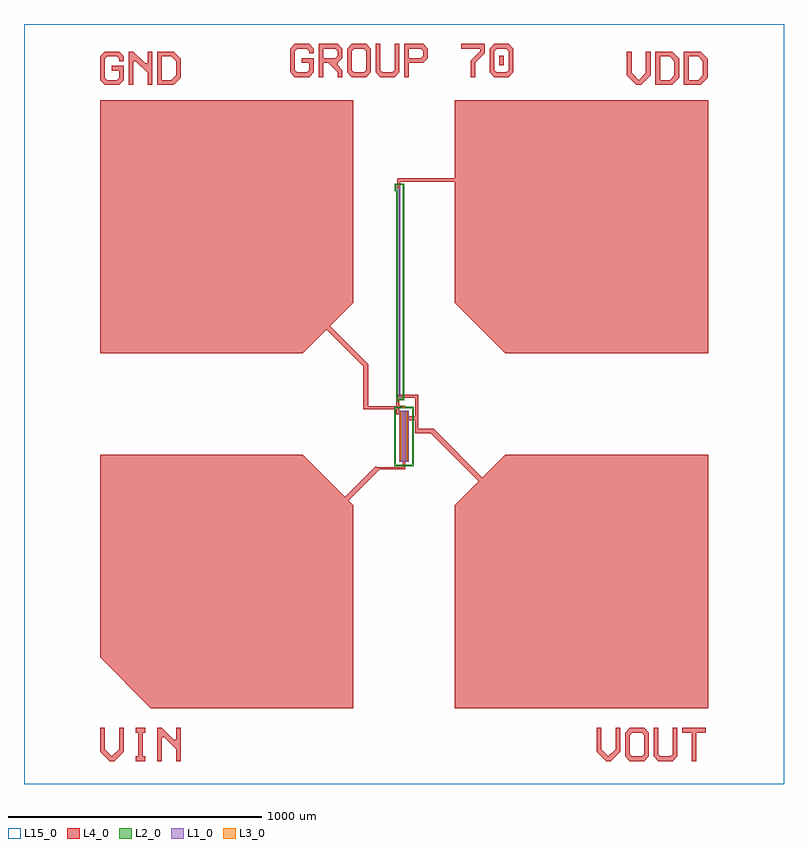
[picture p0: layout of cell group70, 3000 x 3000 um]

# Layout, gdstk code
import gdstk
lib = gdstk.Library(unit=1e-6, precision=1e-09)
def R(c, l, rs):  # rectangles x0, y0, x1, y1
    for r in rs: c.add(gdstk.rectangle(r[:2], r[2:], *l))
def P(c, l, *ps):  # polygons
    for p in ps: c.add(gdstk.Polygon(p, *l))
L1_0 = (1, 0)
L2_0 = (2, 0)
L3_0 = (3, 0)
L4_0 = (4, 0)
L15_0 = (15, 0)

text = lib.new_cell('TEXT')
R(text, L4_0, [(825,46.875,843.75,84.375)])
P(text, L4_0, [(18.75,0),(0,18.75),(0,112.5),(18.75,131.25),(75,131.25),(93.75,112.5),(93.75,93.75),(75,93.75),(75,103.125),(65.625,112.5),(28.125,112.5),(18.75,103.125),(18.75,28.125),(28.125,18.75),(65.625,18.75),(75,28.125),(75,56.25),(46.875,56.25),(46.875,75),(93.75,75),(93.75,18.75),(75,0)],
  [(112.5,0),(112.5,131.25),(187.5,131.25),(206.25,112.5),(131.25,112.5),(131.25,75),(178.125,75),(187.5,84.375),(187.5,103.125),(178.125,112.5),(206.25,112.5),(206.25,75),(187.5,56.25),(187.5,46.875),(206.25,28.125),(206.25,0),(187.5,0),(187.5,18.75),(150,56.25),(131.25,56.25),(131.25,0)],
  [(243.75,0),(225,18.75),(225,112.5),(243.75,131.25),(300,131.25),(318.75,112.5),(318.75,65.625),(300,65.625),(300,103.125),(290.625,112.5),(253.125,112.5),(243.75,103.125),(243.75,28.125),(253.125,18.75),(290.625,18.75),(300,28.125),(300,65.625),(318.75,65.625),(318.75,18.75),(300,0)],
  [(356.25,0),(337.5,18.75),(337.5,131.25),(356.25,131.25),(356.25,28.125),(365.625,18.75),(403.125,18.75),(412.5,28.125),(412.5,131.25),(431.25,131.25),(431.25,18.75),(412.5,0)],
  [(450,0),(450,131.25),(525,131.25),(543.75,112.5),(543.75,75),(525,56.25),(468.75,56.25),(468.75,75),(515.625,75),(525,84.375),(525,103.125),(515.625,112.5),(468.75,112.5),(468.75,0)],
  [(712.5,0),(712.5,65.625),(750,103.125),(750,112.5),(675,112.5),(675,131.25),(768.75,131.25),(768.75,93.75),(731.25,56.25),(731.25,0)],
  [(806.25,0),(787.5,18.75),(787.5,112.5),(806.25,131.25),(862.5,131.25),(881.25,112.5),(815.625,112.5),(806.25,103.125),(806.25,28.125),(815.625,18.75),(853.125,18.75),(862.5,28.125),(862.5,103.125),(853.125,112.5),(881.25,112.5),(881.25,18.75),(862.5,0)])

text_9 = lib.new_cell('TEXT$9')
P(text_9, L4_0, [(18.75,0),(0,18.75),(0,112.5),(18.75,131.25),(75,131.25),(93.75,112.5),(93.75,93.75),(75,93.75),(75,103.125),(65.625,112.5),(28.125,112.5),(18.75,103.125),(18.75,28.125),(28.125,18.75),(65.625,18.75),(75,28.125),(75,56.25),(46.875,56.25),(46.875,75),(93.75,75),(93.75,18.75),(75,0)],
  [(112.5,0),(112.5,131.25),(131.25,131.25),(178.125,84.375),(187.5,84.375),(187.5,131.25),(206.25,131.25),(206.25,0),(187.5,0),(187.5,46.875),(140.625,93.75),(131.25,93.75),(131.25,0)],
  [(225,0),(225,131.25),(290.625,131.25),(309.375,112.5),(243.75,112.5),(243.75,18.75),(281.25,18.75),(300,37.5),(300,93.75),(281.25,112.5),(309.375,112.5),(318.75,103.125),(318.75,28.125),(290.625,0)])

text_11 = lib.new_cell('TEXT$11')
P(text_11, L4_0, [(37.5,0),(0,37.5),(0,131.25),(18.75,131.25),(18.75,46.875),(46.875,18.75),(75,46.875),(75,131.25),(93.75,131.25),(93.75,37.5),(56.25,0)],
  [(112.5,0),(112.5,131.25),(178.125,131.25),(196.875,112.5),(131.25,112.5),(131.25,18.75),(168.75,18.75),(187.5,37.5),(187.5,93.75),(168.75,112.5),(196.875,112.5),(206.25,103.125),(206.25,28.125),(178.125,0)],
  [(225,0),(225,131.25),(290.625,131.25),(309.375,112.5),(243.75,112.5),(243.75,18.75),(281.25,18.75),(300,37.5),(300,93.75),(281.25,112.5),(309.375,112.5),(318.75,103.125),(318.75,28.125),(290.625,0)])

text_1 = lib.new_cell('TEXT$1')
P(text_1, L4_0, [(37.5,0),(0,37.5),(0,131.25),(18.75,131.25),(18.75,46.875),(46.875,18.75),(75,46.875),(75,131.25),(93.75,131.25),(93.75,37.5),(56.25,0)],
  [(140.625,0),(140.625,18.75),(150,18.75),(150,112.5),(140.625,112.5),(140.625,131.25),(178.125,131.25),(178.125,112.5),(168.75,112.5),(168.75,18.75),(178.125,18.75),(178.125,0)],
  [(225,0),(225,131.25),(243.75,131.25),(290.625,84.375),(300,84.375),(300,131.25),(318.75,131.25),(318.75,0),(300,0),(300,46.875),(253.125,93.75),(243.75,93.75),(243.75,0)])

text_2 = lib.new_cell('TEXT$2')
P(text_2, L4_0, [(37.5,0),(0,37.5),(0,131.25),(18.75,131.25),(18.75,46.875),(46.875,18.75),(75,46.875),(75,131.25),(93.75,131.25),(93.75,37.5),(56.25,0)],
  [(131.25,0),(112.5,18.75),(112.5,112.5),(131.25,131.25),(187.5,131.25),(206.25,112.5),(206.25,65.625),(187.5,65.625),(187.5,103.125),(178.125,112.5),(140.625,112.5),(131.25,103.125),(131.25,28.125),(140.625,18.75),(178.125,18.75),(187.5,28.125),(187.5,65.625),(206.25,65.625),(206.25,18.75),(187.5,0)],
  [(243.75,0),(225,18.75),(225,131.25),(243.75,131.25),(243.75,28.125),(253.125,18.75),(290.625,18.75),(300,28.125),(300,131.25),(318.75,131.25),(318.75,18.75),(300,0)],
  [(375,0),(375,112.5),(337.5,112.5),(337.5,131.25),(431.25,131.25),(431.25,112.5),(393.75,112.5),(393.75,0)])

group70 = lib.new_cell('group70')
R(group70, L1_0, [(-19,-227,-3,-27), (2,-227,18,-27), (-22,25,-11,36), (-20,30,-15,855), (-26,849,-15,860)])
R(group70, L2_0, [(-6.25,-17,4.75,-6), (-30,9,-19,20), (-30,15,0,20), (-5,15,0,870), (-30,20,-25,845), (-36,840,-31,870), (-31,840,-30,845), (-36,865,0,870)])
P(group70, L2_0, [(-38.5,-245.5),(-38.5,-11),(2,-11),(2,-17),(-33.5,-17),(-33.5,-240.5),(2,-240.5),(2,-245.5)],
  [(-3,-245.5),(-3,-240.5),(32.5,-240.5),(32.5,-17),(-3,-17),(-3,-11),(37.5,-11),(37.5,-245.5)])
R(group70, L3_0, [(-16,-222,-11,-32), (10,-222,15,-32), (-3,-14,2,-9), (-27,12,-22,17), (-19,28,-14,33), (-23,852,-18,857)])
R(group70, L4_0, [(-109,-257,-4,-250), (-5,-257,4,-27), (-19,-225,-8,-29), (7,-225,18,-29), (45,-115,56,36), (54,-115,117.574,-98.431), (18,-63.5,45,-48.5), (-30,-40,-19,-17), (-160,-20,-30,-8), (-160,-20,-140.931,157.574), (-30,-17,4.75,-6), (-30,-11,-19,20), (-22,25,56,36), (-26,849,-15,890), (-23.602,876.737,258.398,891.737)])
P(group70, L4_0, [(-298.32,-460.528),(-312.463,-446.385),(-110.968,-244.89),(-96.825,-259.033)],
  [(307.426,-316.569),(103.431,-112.574),(117.574,-98.431),(321.569,-302.426)],
  [(-155.074,143.431),(-316.569,304.926),(-302.426,319.069),(-140.931,157.574)],
  [(-1000,-1200),(-1200,-1000),(-1200,-200),(-400,-200),(-200,-400),(-200,-1200)],
  [(-1200,200),(-1200,1200),(-200,1200),(-200,400),(-400,200)],
  [(400,200),(200,400),(200,1200),(1200,1200),(1200,200)],
  [(200,-1200),(200,-400),(400,-200),(1200,-200),(1200,-1200)])
R(group70, L15_0, [(-1500,-1500,1500,1500)])
group70.add(gdstk.Reference(text, (-450,1290)))
group70.add(gdstk.Reference(text_9, (-1200,1260)))
group70.add(gdstk.Reference(text_11, (880,1260)))
group70.add(gdstk.Reference(text_1, (-1200,-1410)))
group70.add(gdstk.Reference(text_2, (760,-1410)))

lib.write_gds('group70.gds')
